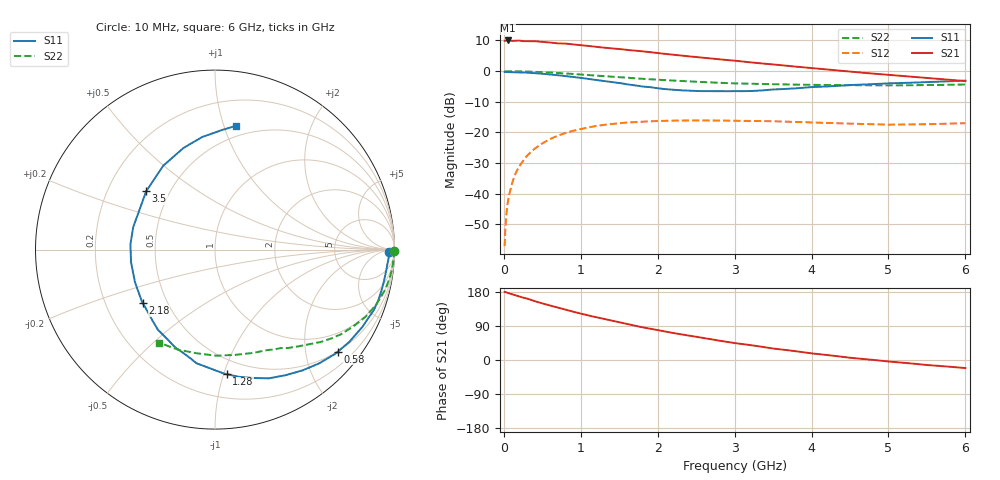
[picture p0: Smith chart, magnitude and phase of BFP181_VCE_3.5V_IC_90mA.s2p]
! Infineon Technologies  Discrete & RF Semiconductors
! BFP181
! VCE = 3.5 V,  IC =  90 mA
! Common Emitter S-Parameters:  Jan 2016
# GHz  S  MA  R  50
!  f  S11  S21  S12  S22
! GHz  MAG  ANG  MAG  ANG  MAG  ANG  MAG  ANG
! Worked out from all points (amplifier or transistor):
!   210 points, 10 MHz to 6 GHz, reference 50 ohm
!   highest |S21| = 10.0 dB at 50 MHz (marker M1)
!   |S21| within 3 dB of that: start of sweep to 1.571 GHz
!   unconditionally stable (mu >= 1): 3.154 GHz to end of sweep
!   at 185 MHz: K = 0.07, MSG = 20.9 dB, |S12| = -31.8 dB
!   at 1.52 GHz: K = 0.51, MSG = 12.1 dB, |S12| = -17.0 dB
!   at 6 GHz: K = 1.31, MAG = 3.5 dB, |S12| = -17.0 dB
!   S11 on the Smith chart (normalised r, x): 10 MHz: 53, -23; 580 MHz: 0.49, -2.69; 1.28 GHz: 0.38, -1.02; 2.18 GHz: 0.36, -0.29; 3.5 GHz: 0.37, +0.32; 6 GHz: 0.41, +1.10
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0.01  0.9687 -0.8  3.126 179.6  0.0014 79.3  0.9996 -0.3
0.02  0.972 -1.5  3.132 179.4  0.0027 89.2  0.9948 -0.6
0.03  0.9702 -2.1  3.141 178.6  0.0042 90.7  0.9955 -0.9
0.05  0.9669 -3.4  3.162 176.9  0.0071 91.8  0.9971 -1.6
0.13  0.9588 -9.1  3.122 172.1  0.0182 83.2  0.9948 -4.2
0.22  0.9536 -15.5  3.121 166.4  0.0304 79.7  0.9902 -7.1
0.4  0.9275 -27.6  3.075 155.3  0.0542 71.9  0.9755 -12.9
0.58  0.8897 -39.7  2.944 144.9  0.0756 63.5  0.951 -18.2
0.8  0.8314 -54.0  2.812 132.8  0.098 54.5  0.9174 -24.2
1.02  0.7705 -68.5  2.63 121.4  0.1153 46.3  0.8763 -29.7
1.28  0.6972 -84.6  2.429 109.2  0.1318 37.8  0.8327 -35.3
1.5  0.642 -99.1  2.298 99.2  0.1412 31.7  0.7955 -39.4
1.72  0.5819 -113.6  2.153 89.8  0.1476 26.4  0.7607 -43.3
2.02  0.5221 -132.9  1.958 78.1  0.1541 20.0  0.7222 -47.8
2.18  0.5 -143.7  1.864 72.0  0.1558 16.6  0.7037 -50.4
2.62  0.4721 -172.6  1.64 57.2  0.1569 9.9  0.6575 -56.7
3.1  0.4711 159.5  1.436 42.1  0.1546 3.5  0.6268 -63.9
3.5  0.5026 139.7  1.286 30.3  0.1523 -0.1  0.613 -70.0
4.1  0.5551 118.6  1.092 15.4  0.1444 -3.6  0.5946 -81.0
4.5  0.593 107.2  0.98 5.9  0.1393 -4.8  0.5913 -89.2
5.1  0.6363 94.7  0.85 -5.6  0.1345 -3.1  0.5864 -101.8
6  0.699 80.5  0.688 -21.3  0.1417 0.1  0.6056 -121.2
